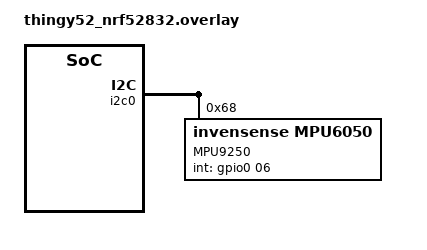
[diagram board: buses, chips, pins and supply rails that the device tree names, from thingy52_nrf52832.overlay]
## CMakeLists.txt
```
# SPDX-License-Identifier: Apache-2.0

cmake_minimum_required(VERSION 3.20.0)
find_package(Zephyr REQUIRED HINTS $ENV{ZEPHYR_BASE})
project(blinky)

target_sources(app PRIVATE src/main.c 
						   src/app_sensors.c 
						   src/app_bt.c
						   src/app_led.c)
target_include_directories(app PRIVATE include)
```

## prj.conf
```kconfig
CONFIG_GPIO=y
CONFIG_I2C=y
CONFIG_SENSOR=y
CONFIG_MPU6050=y
CONFIG_MPU6050_TRIGGER_NONE=y
CONFIG_CONSOLE=y
CONFIG_LOG=y
CONFIG_LOG_BACKEND_RTT=y
CONFIG_RTT_CONSOLE=y

# Bluetooth configuration
CONFIG_BT=y
CONFIG_BT_PERIPHERAL=y
CONFIG_BT_DEVICE_NAME="Whack-A-Mole Button"
CONFIG_BT_DEVICE_APPEARANCE=833
CONFIG_BT_MAX_CONN=1
CONFIG_BT_NUS=y
```

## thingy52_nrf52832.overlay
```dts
// To get started, press Ctrl+Space to bring up the completion menu and view the available nodes.

// You can also use the buttons in the sidebar to perform actions on nodes.
// Actions currently available include:

// * Enabling / disabling the node
// * Adding the bus to a bus
// * Removing the node
// * Connecting ADC channels

// For more help, browse the DeviceTree documentation at https://docs.zephyrproject.org/latest/guides/dts/index.html
// You can also visit the nRF DeviceTree extension documentation at https://nrfconnect.github.io/vscode-nrf-connect/devicetree/nrfdevicetree.html
&i2c0 {
	mpu9250: mpu9250@68 {
		compatible = "invensense,mpu6050";
		reg = <0x68>;
		status = "okay";
		label = "MPU9250";
		int-gpios = <&gpio0 06 GPIO_ACTIVE_HIGH>;
	};
};
```

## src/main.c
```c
/*
 * Copyright (c) 2016 Intel Corporation
 *
 * SPDX-License-Identifier: Apache-2.0
 */

#include <zephyr/kernel.h>
#include <zephyr/drivers/gpio.h>
#include <zephyr/device.h>
#include <app_sensors.h>
#include <app_bt.h>
#include <app_led.h>

/* 1000 msec = 1 sec */
#define SLEEP_TIME_MS   1000

#define BUTTON0_NODE DT_NODELABEL(button0)

static const struct gpio_dt_spec button = GPIO_DT_SPEC_GET(BUTTON0_NODE, gpios);

void on_button_pressed(const struct device *port, struct gpio_callback *cb, gpio_port_pins_t pins)
{
	
}

static int button_led_init(void)
{
	int ret;

	ret = app_led_init();
	if (ret < 0) {
		printk("LED init error (err %i)", ret);
		return ret;
	}

	if (!device_is_ready(button.port)) {
		return -1;
	}

	ret = gpio_pin_configure_dt(&button, GPIO_INPUT);
	if (ret < 0) {
		return -1;
	}
	
	ret = gpio_pin_interrupt_configure_dt(&button, GPIO_INT_EDGE_TO_ACTIVE);
	if (ret != 0) {
		printk("Error %d: failed to configure interrupt on %s pin %d\n",
			ret, button.port->name, button.pin);
		return ret;
	}
	
	static struct gpio_callback button_callback;
	gpio_init_callback(&button_callback, on_button_pressed, BIT(button.pin));
	gpio_add_callback(button.port, &button_callback);

	return 0;
}

void sensors_callback(app_sensors_event_t *event)
{

}

void bluetooth_callback(app_bt_event_t *event)
{
	switch(event->type) {
		case APP_BT_EVT_CONNECTED:
			app_led_blink(LED_COLOR_BLUE, LED_COLOR_BLUE, LED_SPEED_SLOW);
			break;
		case APP_BT_EVT_DISCONNECTED:
			app_led_blink(LED_COLOR_BLUE, LED_COLOR_BLACK, LED_SPEED_SLOW);
			break;
		case APP_BT_EVT_RX:
			printk("Data received!!\n");
			app_led_blink(LED_COLOR_PURPLE, LED_COLOR_GREEN, LED_SPEED_FAST);
			break;
	}
}

void main(void)
{
	int ret;

	ret = button_led_init();
	if (ret < 0) {
		printk("Button/LED init failed\n");
		return;
	}

	ret = app_sensors_init(sensors_callback);
	if (ret < 0) {
		printk("Sensors init failed (err %d)\n", ret);
		return;
	}

	ret = app_bt_init(bluetooth_callback);
	if (ret < 0) {
		printk("Bluetooth init failed (err %i)", ret);
		return;
	}
	
	printk("Basic Thingy52 sensor sample\n");

	app_led_blink(LED_COLOR_BLUE, LED_COLOR_BLACK, LED_SPEED_SLOW);

	while (1) {
		app_sensors_read_mpu();

		k_msleep(SLEEP_TIME_MS);
	}
}
```

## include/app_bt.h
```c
#ifndef __APP_BT_H
#define __APP_BT_H

typedef struct {

} app_bt_event_t;

typedef void (*app_bt_callback_t)(app_bt_event_t *event);

int app_bt_init(app_bt_callback_t callback);

#endif
```

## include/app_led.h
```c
#ifndef __APP_LED_H
#define __APP_LED_H

#include <zephyr/kernel.h>

#define LED_COLOR_BLACK 	0x000000
#define LED_COLOR_RED		0x0000FF
#define LED_COLOR_YELLOW	0x00FFFF
#define LED_COLOR_GREEN		0x00FF00
#define LED_COLOR_BLUE		0xFF0000
#define LED_COLOR_PURPLE	0xFF00FF
#define LED_COLOR_TEAL		0xFFFF00
#define LED_COLOR_WHITE		0xFFFFFF

#define COLOR_CH_RED(a) ((a) & 0xFF)
#define COLOR_CH_GREEN(a) (((a) >> 8) & 0xFF)
#define COLOR_CH_BLUE(a) (((a) >> 16) & 0xFF)

typedef uint32_t led_color_t;

int app_led_init(void);

int app_led_toggle(led_color_t color1);

#endif
```

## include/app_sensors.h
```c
#ifndef __APP_SENSORS_H
#define __APP_SENSORS_H

#include <zephyr/kernel.h>
typedef struct {
	uint32_t type;
} app_sensors_event_t;

typedef void (*app_sensors_callback_t)(app_sensors_event_t *event);

int app_sensors_init(app_sensors_callback_t callback);

int app_sensors_read_mpu(void);

#endif
```

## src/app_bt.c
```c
#include <app_bt.h>

#include <zephyr/bluetooth/bluetooth.h>
#include <zephyr/bluetooth/uuid.h>
#include <zephyr/bluetooth/gatt.h>
#include <zephyr/bluetooth/hci.h>

#include <bluetooth/services/nus.h>

#define DEVICE_NAME CONFIG_BT_DEVICE_NAME
#define DEVICE_NAME_LEN	(sizeof(DEVICE_NAME) - 1)

static const struct bt_data ad[] = {
	BT_DATA_BYTES(BT_DATA_FLAGS, (BT_LE_AD_GENERAL | BT_LE_AD_NO_BREDR)),
	BT_DATA(BT_DATA_NAME_COMPLETE, DEVICE_NAME, DEVICE_NAME_LEN),
};

static const struct bt_data sd[] = {
	BT_DATA_BYTES(BT_DATA_UUID128_ALL, BT_UUID_NUS_VAL),
};

static app_bt_callback_t m_callback;

static struct bt_conn *current_conn;

static void bt_receive_cb(struct bt_conn *conn, const uint8_t *const data, uint16_t len)
{

}

static struct bt_nus_cb nus_cb = {
	.received = bt_receive_cb,
};

int app_bt_init(app_bt_callback_t callback)
{
	int ret;

	m_callback = callback;

	ret = bt_enable(NULL);
	if (ret < 0) {
		return ret;
	}

	ret = bt_nus_init(&nus_cb);
	if (ret < 0) {
		return ret;
	}

	ret = bt_le_adv_start(BT_LE_ADV_CONN, ad, ARRAY_SIZE(ad), sd, ARRAY_SIZE(sd));
	if (ret < 0) {
		return ret;
	}

	return 0;
}
```

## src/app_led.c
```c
#include <app_led.h>
#include <zephyr/drivers/gpio.h>
#include <zephyr/drivers/gpio/gpio_sx1509b.h>
#include <zephyr/device.h>

#define NUMBER_OF_LEDS 3
#define RED_LED DT_GPIO_PIN(DT_NODELABEL(led0), gpios)
#define GREEN_LED DT_GPIO_PIN(DT_NODELABEL(led1), gpios)
#define BLUE_LED DT_GPIO_PIN(DT_NODELABEL(led2), gpios)

const struct device *dev_sx1509b;

static const gpio_pin_t rgb_pins[] = {
	RED_LED,
	GREEN_LED,
	BLUE_LED,
};

static void led_blink_work_handler(struct k_work *work);

static led_color_t blink_colors[2];
static uint32_t blink_speed_ms;
static struct k_work_delayable work_led_blink;
static bool led_blink_active = false;

int app_led_init(void)
{
	int ret;
	
	dev_sx1509b = DEVICE_DT_GET(DT_NODELABEL(sx1509b));

	if (!device_is_ready(dev_sx1509b)) {
		printk("sx1509b: device not ready.\n");
		return -1;
	}

	for (int i = 0; i < NUMBER_OF_LEDS; i++) {
		ret = sx1509b_led_intensity_pin_configure(dev_sx1509b, rgb_pins[i]);

		if (ret < 0) {
			printk("Error configuring pin for LED intensity\n");
			return ret;
		}
	}

	k_work_init_delayable(&work_led_blink, led_blink_work_handler);
	
	return 0;
}

static int led_set_color(led_color_t color)
{
	int ret = sx1509b_led_intensity_pin_set(dev_sx1509b, RED_LED, COLOR_CH_RED(color));
	if (ret == 0) {
		ret = sx1509b_led_intensity_pin_set(dev_sx1509b, GREEN_LED, COLOR_CH_GREEN(color));
	}
	if (ret == 0) {
		ret = sx1509b_led_intensity_pin_set(dev_sx1509b, BLUE_LED, COLOR_CH_BLUE(color));	
	}
	return ret;
}

int app_led_toggle(led_color_t color1)
{
	static bool led_on = true;
	led_on = !led_on;
	return led_set_color(led_on ? color1 : LED_COLOR_BLACK);
}

static void led_blink_work_handler(struct k_work *work)
{
	static bool color_select;
	color_select = !color_select;
	led_set_color(blink_colors[color_select ? 0 : 1]);
	k_work_schedule(k_work_delayable_from_work(work), K_MSEC(blink_speed_ms));
}

int app_led_blink(led_color_t c1, led_color_t c2, led_speed_t speed)
{
	if(led_blink_active) {
		k_work_cancel_delayable(&work_led_blink);
	}

	blink_colors[0] = c1;
	blink_colors[1] = c2;
	blink_speed_ms = (uint32_t)speed;

	led_blink_active = true;	
	return k_work_schedule(&work_led_blink, K_NO_WAIT);
}

int app_led_off(void)
{
	if(led_blink_active) {
		led_blink_active = false;
		k_work_cancel_delayable(&work_led_blink);
	}
	return led_set_color(LED_COLOR_BLACK);
}
```

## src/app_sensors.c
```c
#include "app_sensors.h"
#include <zephyr/device.h>
#include <zephyr/drivers/sensor.h>
#include <zephyr/drivers/gpio.h>
#include <stdio.h>

static app_sensors_callback_t m_callback;

static const struct device *dev_mpu9250;

static const char *now_str(void)
{
	static char buf[16]; /* ...HH:MM:SS.MMM */
	uint32_t now = k_uptime_get_32();
	unsigned int ms = now % MSEC_PER_SEC;
	unsigned int s;
	unsigned int min;
	unsigned int h;

	now /= MSEC_PER_SEC;
	s = now % 60U;
	now /= 60U;
	min = now % 60U;
	now /= 60U;
	h = now;

	snprintf(buf, sizeof(buf), "%u:%02u:%02u.%03u",
		 h, min, s, ms);
	return buf;
}

static int process_mpu6050(const struct device *dev)
{
	struct sensor_value temperature;
	struct sensor_value accel[3];
	struct sensor_value gyro[3];
	int rc = sensor_sample_fetch(dev);

	if (rc == 0) {
		rc = sensor_channel_get(dev, SENSOR_CHAN_ACCEL_XYZ,
					accel);
	}
	if (rc == 0) {
		rc = sensor_channel_get(dev, SENSOR_CHAN_GYRO_XYZ,
					gyro);
	}
	if (rc == 0) {
		rc = sensor_channel_get(dev, SENSOR_CHAN_AMBIENT_TEMP,
					&temperature);
	}
	if (rc == 0) {
		printk("[%s]:%i Cel\n"
		       "  accel %i %i %i m/s/s\n"
		       "  gyro  %i %i %i rad/s\n",
		       now_str(),
		       (int)(100*sensor_value_to_double(&temperature)),
		       (int)(100*sensor_value_to_double(&accel[0])),
		       (int)(100*sensor_value_to_double(&accel[1])),
		       (int)(100*sensor_value_to_double(&accel[2])),
		       (int)(100*sensor_value_to_double(&gyro[0])),
		       (int)(100*sensor_value_to_double(&gyro[1])),
		       (int)(100*sensor_value_to_double(&gyro[2])));
	} else {
		printk("sample fetch/get failed: %d\n", rc);
	}

	return rc;
}

int app_sensors_init(app_sensors_callback_t callback)
{
	m_callback = callback;

	const char *mpu9250_label = "MPU9250";
	dev_mpu9250 = device_get_binding(mpu9250_label);
	if (!dev_mpu9250) {
		printk("Failed to find sensor %s\n", mpu9250_label);
		return -ENODEV;
	}

	return 0;
}

int app_sensors_read_mpu(void)
{
	process_mpu6050(dev_mpu9250);

	return 0;
}

static const struct gpio_dt_spec mpu_pwr = 
	GPIO_DT_SPEC_GET(DT_NODELABEL(mpu_pwr), enable_gpios);

static int mpu_pwr_ctrl_init(const struct device *dev)
{
	if (!device_is_ready(mpu_pwr.port)) {
		return -ENODEV;
	}

	int ret = gpio_pin_configure_dt(&mpu_pwr, GPIO_OUTPUT_HIGH);
	if (ret < 0) {
		return ret;
	}

	k_sleep(K_MSEC(100)); /* Wait for the rail to come up and stabilize */
	
	return 0;
}

SYS_INIT(mpu_pwr_ctrl_init, POST_KERNEL,
	 CONFIG_BOARD_CCS_VDD_PWR_CTRL_INIT_PRIORITY);
```
